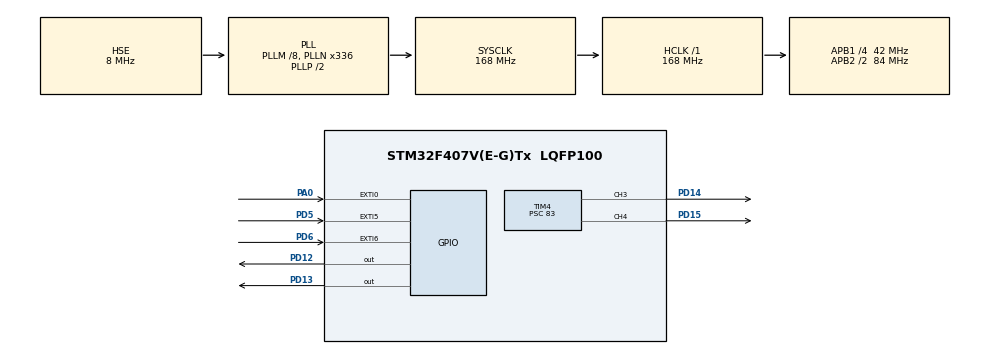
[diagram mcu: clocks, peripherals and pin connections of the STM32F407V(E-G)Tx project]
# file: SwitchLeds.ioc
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Dma.Request0=TIM4_CH3
Dma.TIM4_CH3.0.Direction=DMA_MEMORY_TO_PERIPH
Dma.TIM4_CH3.0.FIFOMode=DMA_FIFOMODE_DISABLE
Dma.TIM4_CH3.0.Instance=DMA1_Stream7
Dma.TIM4_CH3.0.MemDataAlignment=DMA_MDATAALIGN_HALFWORD
Dma.TIM4_CH3.0.MemInc=DMA_MINC_ENABLE
Dma.TIM4_CH3.0.Mode=DMA_CIRCULAR
Dma.TIM4_CH3.0.PeriphDataAlignment=DMA_PDATAALIGN_HALFWORD
Dma.TIM4_CH3.0.PeriphInc=DMA_PINC_DISABLE
Dma.TIM4_CH3.0.Priority=DMA_PRIORITY_HIGH
Mcu.Family=STM32F4
Mcu.Name=STM32F407V(E-G)Tx
Mcu.Package=LQFP100
NVIC.DMA1_Stream7_IRQn=true\:0\:0\:false\:false\:true\:false\:true\:true
NVIC.EXTI0_IRQn=true\:0\:0\:false\:false\:true\:true\:true\:true
NVIC.EXTI9_5_IRQn=true\:0\:0\:false\:false\:true\:true\:true\:true
NVIC.PriorityGroup=NVIC_PRIORITYGROUP_0
NVIC.TIM6_DAC_IRQn=true\:0\:0\:false\:false\:true\:true\:true\:true
NVIC.TIM7_IRQn=true\:0\:0\:false\:false\:true\:true\:true\:true
PA0-WKUP.GPIO_ModeDefaultEXTI=GPIO_MODE_IT_RISING_FALLING
PA0-WKUP.GPIO_PuPd=GPIO_NOPULL
PA0-WKUP.Signal=GPXTI0
PA13.Mode=Serial_Wire
PA13.Signal=SYS_JTMS-SWDIO
PA14.Mode=Serial_Wire
PA14.Signal=SYS_JTCK-SWCLK
PD12.Signal=GPIO_Output
PD13.Signal=GPIO_Output
PD14.GPIO_ModeDefaultPP=GPIO_MODE_AF_PP
PD14.GPIO_PuPd=GPIO_NOPULL
PD14.GPIO_Speed=GPIO_SPEED_FREQ_HIGH
PD14.Signal=S_TIM4_CH3
PD15.GPIO_Speed=GPIO_SPEED_FREQ_HIGH
PD15.Signal=S_TIM4_CH4
PD5.GPIO_ModeDefaultEXTI=GPIO_MODE_IT_RISING_FALLING
PD5.GPIO_PuPd=GPIO_PULLUP
PD5.Signal=GPXTI5
PD6.GPIO_ModeDefaultEXTI=GPIO_MODE_IT_RISING_FALLING
PD6.GPIO_PuPd=GPIO_PULLDOWN
PD6.Signal=GPXTI6
PH0-OSC_IN.Mode=HSE-External-Oscillator
PH0-OSC_IN.Signal=RCC_OSC_IN
PH1-OSC_OUT.Mode=HSE-External-Oscillator
PH1-OSC_OUT.Signal=RCC_OSC_OUT
ProjectManager.HeapSize=0x200
ProjectManager.StackSize=0x400
ProjectManager.TargetToolchain=STM32CubeIDE
RCC.48MHZClocksFreq_Value=48000000
RCC.AHBFreq_Value=168000000
RCC.APB1CLKDivider=RCC_HCLK_DIV4
RCC.APB1Freq_Value=42000000
RCC.APB1TimFreq_Value=84000000
RCC.APB2CLKDivider=RCC_HCLK_DIV2
RCC.APB2Freq_Value=84000000
RCC.APB2TimFreq_Value=168000000
RCC.CortexFreq_Value=168000000
RCC.HCLKFreq_Value=168000000
RCC.HSE_VALUE=8000000
RCC.HSI_VALUE=16000000
RCC.LSE_VALUE=32768
RCC.PLLM=8
RCC.PLLN=336
RCC.PLLQ=7
RCC.PLLSourceVirtual=RCC_PLLSOURCE_HSE
RCC.SYSCLKFreq_VALUE=168000000
RCC.SYSCLKSource=RCC_SYSCLKSOURCE_PLLCLK
RCC.VCOOutputFreq_Value=336000000
SH.S_TIM4_CH3.0=TIM4_CH3,PWM Generation3 CH3
SH.S_TIM4_CH4.0=TIM4_CH4,PWM Generation4 CH4
TIM4.Channel-PWM\ Generation3\ CH3=TIM_CHANNEL_3
TIM4.Channel-PWM\ Generation4\ CH4=TIM_CHANNEL_4
TIM4.Period=999
TIM4.Prescaler=83
TIM6.Period=6499
TIM6.Prescaler=8399
TIM7.Period=29
TIM7.Prescaler=8399
VP_TIM4_VS_ClockSourceINT.Mode=Internal
VP_TIM6_VS_ClockSourceINT.Mode=Enable_Timer
VP_TIM7_VS_ClockSourceINT.Mode=Enable_Timer
board=STM32F407G-DISC1

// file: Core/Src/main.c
/* USER CODE BEGIN Header */
/**
  ******************************************************************************
  * @file           : main.c
  * @brief          : Main program body
  ******************************************************************************
  * @attention
  *
  * Copyright (c) 2025 STMicroelectronics.
  * All rights reserved.
  *
  * This software is licensed under terms that can be found in the LICENSE file
  * in the root directory of this software component.
  * If no LICENSE file comes with this software, it is provided AS-IS.
  *
  ******************************************************************************
  */
/* USER CODE END Header */
#include "main.h"

TIM_HandleTypeDef htim4;
TIM_HandleTypeDef htim6;
TIM_HandleTypeDef htim7;
DMA_HandleTypeDef hdma_tim4_ch3;

void SystemClock_Config(void);
static void MX_GPIO_Init(void);
static void MX_DMA_Init(void);
static void MX_TIM6_Init(void);
static void MX_TIM4_Init(void);
static void MX_TIM7_Init(void);

/* USER CODE BEGIN 0 */
#define DEBOUNCE_DELAY 100
#define LONG_PRESS_TIME 1500
#define PWM_BUF_SIZE 32
#define PWM_TOP 999
#define PWM_UP_MS   5000
#define PWM_DOWN_MS 2000
#define PWM_TOTAL_MS (PWM_UP_MS + PWM_DOWN_MS)
#define PWM_STEP_UP    ((float)PWM_TOP / PWM_UP_MS)
#define PWM_STEP_DOWN  ((float)PWM_TOP / PWM_DOWN_MS)

typedef enum {
  MODE_1 = 1,
  MODE_2,
  MODE_3,
  MODE_4,
  MODE_5
} Mode_t;

Mode_t current_mode = MODE_1;
Mode_t previous_mode = MODE_1;
Mode_t mode_flag;
uint32_t button_press_time = 0;
uint32_t pwm_value = 0;
uint32_t pwm_step = 1;

uint16_t pwm_buf[PWM_BUF_SIZE];
float pwm_level = 0.0f;
int8_t direction = 1;
uint32_t elapsed_ms = 0;

void update_pwm_buffer(uint16_t* buf, int buf_size) {
  for (int i = 0; i < buf_size; i++) {
    buf[i] = (uint16_t)pwm_level;

    if (direction == 1) {
      pwm_level += PWM_STEP_UP;
      if (pwm_level >= PWM_TOP) {
        pwm_level = PWM_TOP;
      }
    } else {
      pwm_level -= PWM_STEP_DOWN;
      if (pwm_level <= 0) {
        pwm_level = 0;
      }
    }

    elapsed_ms++;

    if (elapsed_ms >= PWM_UP_MS && direction == 1) {
      direction = -1;
    } else if (elapsed_ms >= PWM_TOTAL_MS && direction == -1) {
      direction = 1;
      elapsed_ms = 0;
    }
  }
}

void HAL_GPIO_EXTI_Callback(uint16_t GPIO_Pin) {
  if (GPIO_Pin == GPIO_PIN_0) {
    uint32_t current_time = HAL_GetTick();
    if (HAL_GPIO_ReadPin(GPIOA, GPIO_PIN_0) == GPIO_PIN_SET) {
      button_press_time = current_time;
    } else {
      uint32_t press_duration = current_time - button_press_time;
      if (press_duration > DEBOUNCE_DELAY) {
        if (press_duration >= LONG_PRESS_TIME) {
          if (current_mode != MODE_5) {
            previous_mode = current_mode;
            current_mode = MODE_5;
          } else {
            current_mode = previous_mode;
          }
        } else if (current_mode != MODE_5) {
          current_mode = (current_mode == MODE_4) ? MODE_1 : (Mode_t)(current_mode + 1);
        }
      }
    }
  }

  if (current_mode == MODE_2 || current_mode == MODE_5) {
    if ((HAL_GPIO_ReadPin(GPIOD, GPIO_PIN_5) == GPIO_PIN_SET) && (HAL_GPIO_ReadPin(GPIOD, GPIO_PIN_6) == GPIO_PIN_SET)) {
      HAL_GPIO_WritePin(GPIOD, GPIO_PIN_12, GPIO_PIN_SET);
    }
  }else{
    HAL_GPIO_WritePin(GPIOD, GPIO_PIN_12, GPIO_PIN_RESET);
  }

  if (current_mode != MODE_1 && current_mode != MODE_5) {
    if (HAL_GPIO_ReadPin(GPIOD, GPIO_PIN_13) == GPIO_PIN_SET) {
      HAL_GPIO_WritePin(GPIOD, GPIO_PIN_13, GPIO_PIN_RESET);
    }
  }
}

void HAL_TIM_PWM_PulseFinishedHalfCpltCallback(TIM_HandleTypeDef *htim) {
  if (htim->Instance == TIM4) {
    update_pwm_buffer(&pwm_buf[0], PWM_BUF_SIZE / 2);
  }
}

void HAL_TIM_PWM_PulseFinishedCallback(TIM_HandleTypeDef *htim) {
  if (htim->Instance == TIM4) {
    update_pwm_buffer(&pwm_buf[PWM_BUF_SIZE / 2], PWM_BUF_SIZE / 2);
  }
}

void HAL_TIM_PeriodElapsedCallback(TIM_HandleTypeDef *htim) {
  if (htim->Instance == TIM6) {
    HAL_GPIO_TogglePin(GPIOD, GPIO_PIN_13);
  }

  if (htim->Instance == TIM7) {
    pwm_value += pwm_step;
    if (pwm_value >= PWM_TOP || pwm_value == 0) {
      pwm_step = -pwm_step;
    }
    TIM4->CCR4 = pwm_value;
  }
}

/* USER CODE END 0 */

int main(void)
{

  /* MCU Configuration--------------------------------------------------------*/

  /* Reset of all peripherals, Initializes the Flash interface and the Systick. */
  HAL_Init();

  /* Configure the system clock */
  SystemClock_Config();

  /* Initialize all configured peripherals */
  MX_GPIO_Init();
  MX_DMA_Init();
  MX_TIM6_Init();
  MX_TIM4_Init();
  MX_TIM7_Init();

  /* Infinite loop */
  /* USER CODE BEGIN WHILE */
  while (1) {
    if (mode_flag != current_mode) {
      switch (current_mode) {
        case MODE_1:
          HAL_TIM_PWM_Stop_DMA(&htim4, TIM_CHANNEL_3);
          HAL_TIM_PWM_Stop(&htim4, TIM_CHANNEL_4);
          HAL_TIM_Base_Stop(&htim7);
          HAL_TIM_Base_Start_IT(&htim6);
        break;
        case MODE_2:
          HAL_TIM_Base_Stop_IT(&htim6);
          HAL_TIM_PWM_Stop_DMA(&htim4, TIM_CHANNEL_3);
          HAL_TIM_PWM_Stop(&htim4, TIM_CHANNEL_4);
          HAL_TIM_Base_Stop(&htim7);
        break;
        case MODE_3:
          HAL_TIM_Base_Stop_IT(&htim6);
          HAL_TIM_PWM_Stop_DMA(&htim4, TIM_CHANNEL_3);
          HAL_TIM_PWM_Start(&htim4, TIM_CHANNEL_4);
          HAL_TIM_Base_Start_IT(&htim7);
        break;
        case MODE_4:
          HAL_TIM_Base_Stop_IT(&htim6);
          HAL_TIM_PWM_Stop(&htim4, TIM_CHANNEL_4);
          HAL_TIM_Base_Stop(&htim7);
          HAL_TIM_PWM_Start_DMA(&htim4, TIM_CHANNEL_3, (uint32_t*)pwm_buf, PWM_BUF_SIZE);
        break;
        case MODE_5:
          HAL_TIM_Base_Start_IT(&htim6);
          HAL_TIM_PWM_Start_DMA(&htim4, TIM_CHANNEL_3, (uint32_t*)pwm_buf, PWM_BUF_SIZE);
          HAL_TIM_PWM_Start(&htim4, TIM_CHANNEL_4);
          HAL_TIM_Base_Start_IT(&htim7);
        break;
    }
      mode_flag = current_mode;
    }
    /* USER CODE END WHILE */

  }
}

void SystemClock_Config(void)
{
  RCC_OscInitTypeDef RCC_OscInitStruct = {0};
  RCC_ClkInitTypeDef RCC_ClkInitStruct = {0};

  /** Configure the main internal regulator output voltage
  */
  __HAL_RCC_PWR_CLK_ENABLE();
  __HAL_PWR_VOLTAGESCALING_CONFIG(PWR_REGULATOR_VOLTAGE_SCALE1);

  /** Initializes the RCC Oscillators according to the specified parameters
  * in the RCC_OscInitTypeDef structure.
  */
  RCC_OscInitStruct.OscillatorType = RCC_OSCILLATORTYPE_HSE;
  RCC_OscInitStruct.HSEState = RCC_HSE_ON;
  RCC_OscInitStruct.PLL.PLLState = RCC_PLL_ON;
  RCC_OscInitStruct.PLL.PLLSource = RCC_PLLSOURCE_HSE;
  RCC_OscInitStruct.PLL.PLLM = 8;
  RCC_OscInitStruct.PLL.PLLN = 336;
  RCC_OscInitStruct.PLL.PLLP = RCC_PLLP_DIV2;
  RCC_OscInitStruct.PLL.PLLQ = 7;
  if (HAL_RCC_OscConfig(&RCC_OscInitStruct) != HAL_OK)
  {
    Error_Handler();
  }

  /** Initializes the CPU, AHB and APB buses clocks
  */
  RCC_ClkInitStruct.ClockType = RCC_CLOCKTYPE_HCLK|RCC_CLOCKTYPE_SYSCLK
                              |RCC_CLOCKTYPE_PCLK1|RCC_CLOCKTYPE_PCLK2;
  RCC_ClkInitStruct.SYSCLKSource = RCC_SYSCLKSOURCE_PLLCLK;
  RCC_ClkInitStruct.AHBCLKDivider = RCC_SYSCLK_DIV1;
  RCC_ClkInitStruct.APB1CLKDivider = RCC_HCLK_DIV4;
  RCC_ClkInitStruct.APB2CLKDivider = RCC_HCLK_DIV2;

  if (HAL_RCC_ClockConfig(&RCC_ClkInitStruct, FLASH_LATENCY_5) != HAL_OK)
  {
    Error_Handler();
  }
}

static void MX_TIM4_Init(void)
{

  TIM_ClockConfigTypeDef sClockSourceConfig = {0};
  TIM_MasterConfigTypeDef sMasterConfig = {0};
  TIM_OC_InitTypeDef sConfigOC = {0};

  htim4.Instance = TIM4;
  htim4.Init.Prescaler = 83;
  htim4.Init.CounterMode = TIM_COUNTERMODE_UP;
  htim4.Init.Period = 999;
  htim4.Init.ClockDivision = TIM_CLOCKDIVISION_DIV1;
  htim4.Init.AutoReloadPreload = TIM_AUTORELOAD_PRELOAD_DISABLE;
  if (HAL_TIM_Base_Init(&htim4) != HAL_OK)
  {
    Error_Handler();
  }
  sClockSourceConfig.ClockSource = TIM_CLOCKSOURCE_INTERNAL;
  if (HAL_TIM_ConfigClockSource(&htim4, &sClockSourceConfig) != HAL_OK)
  {
    Error_Handler();
  }
  if (HAL_TIM_PWM_Init(&htim4) != HAL_OK)
  {
    Error_Handler();
  }
  sMasterConfig.MasterOutputTrigger = TIM_TRGO_RESET;
  sMasterConfig.MasterSlaveMode = TIM_MASTERSLAVEMODE_DISABLE;
  if (HAL_TIMEx_MasterConfigSynchronization(&htim4, &sMasterConfig) != HAL_OK)
  {
    Error_Handler();
  }
  sConfigOC.OCMode = TIM_OCMODE_PWM1;
  sConfigOC.Pulse = 0;
  sConfigOC.OCPolarity = TIM_OCPOLARITY_HIGH;
  sConfigOC.OCFastMode = TIM_OCFAST_DISABLE;
  if (HAL_TIM_PWM_ConfigChannel(&htim4, &sConfigOC, TIM_CHANNEL_3) != HAL_OK)
  {
    Error_Handler();
  }
  if (HAL_TIM_PWM_ConfigChannel(&htim4, &sConfigOC, TIM_CHANNEL_4) != HAL_OK)
  {
    Error_Handler();
  }
  HAL_TIM_MspPostInit(&htim4);

}

static void MX_TIM6_Init(void)
{

  TIM_MasterConfigTypeDef sMasterConfig = {0};

  htim6.Instance = TIM6;
  htim6.Init.Prescaler = 8399;
  htim6.Init.CounterMode = TIM_COUNTERMODE_UP;
  htim6.Init.Period = 6499;
  htim6.Init.AutoReloadPreload = TIM_AUTORELOAD_PRELOAD_DISABLE;
  if (HAL_TIM_Base_Init(&htim6) != HAL_OK)
  {
    Error_Handler();
  }
  sMasterConfig.MasterOutputTrigger = TIM_TRGO_RESET;
  sMasterConfig.MasterSlaveMode = TIM_MASTERSLAVEMODE_DISABLE;
  if (HAL_TIMEx_MasterConfigSynchronization(&htim6, &sMasterConfig) != HAL_OK)
  {
    Error_Handler();
  }

}

static void MX_TIM7_Init(void)
{

  TIM_MasterConfigTypeDef sMasterConfig = {0};

  htim7.Instance = TIM7;
  htim7.Init.Prescaler = 8399;
  htim7.Init.CounterMode = TIM_COUNTERMODE_UP;
  htim7.Init.Period = 29;
  htim7.Init.AutoReloadPreload = TIM_AUTORELOAD_PRELOAD_DISABLE;
  if (HAL_TIM_Base_Init(&htim7) != HAL_OK)
  {
    Error_Handler();
  }
  sMasterConfig.MasterOutputTrigger = TIM_TRGO_RESET;
  sMasterConfig.MasterSlaveMode = TIM_MASTERSLAVEMODE_DISABLE;
  if (HAL_TIMEx_MasterConfigSynchronization(&htim7, &sMasterConfig) != HAL_OK)
  {
    Error_Handler();
  }

}

static void MX_DMA_Init(void)
{

  /* DMA controller clock enable */
  __HAL_RCC_DMA1_CLK_ENABLE();

  /* DMA interrupt init */
  /* DMA1_Stream7_IRQn interrupt configuration */
  HAL_NVIC_SetPriority(DMA1_Stream7_IRQn, 0, 0);
  HAL_NVIC_EnableIRQ(DMA1_Stream7_IRQn);

}

static void MX_GPIO_Init(void)
{
  GPIO_InitTypeDef GPIO_InitStruct = {0};

  /* GPIO Ports Clock Enable */
  __HAL_RCC_GPIOH_CLK_ENABLE();
  __HAL_RCC_GPIOA_CLK_ENABLE();
  __HAL_RCC_GPIOD_CLK_ENABLE();

  /*Configure GPIO pin Output Level */
  HAL_GPIO_WritePin(GPIOD, GPIO_PIN_12|GPIO_PIN_13, GPIO_PIN_RESET);

  /*Configure GPIO pin : PA0 */
  GPIO_InitStruct.Pin = GPIO_PIN_0;
  GPIO_InitStruct.Mode = GPIO_MODE_IT_RISING_FALLING;
  GPIO_InitStruct.Pull = GPIO_NOPULL;
  HAL_GPIO_Init(GPIOA, &GPIO_InitStruct);

  /*Configure GPIO pins : PD12 PD13 */
  GPIO_InitStruct.Pin = GPIO_PIN_12|GPIO_PIN_13;
  GPIO_InitStruct.Mode = GPIO_MODE_OUTPUT_PP;
  GPIO_InitStruct.Pull = GPIO_NOPULL;
  GPIO_InitStruct.Speed = GPIO_SPEED_FREQ_LOW;
  HAL_GPIO_Init(GPIOD, &GPIO_InitStruct);

  /*Configure GPIO pin : PD5 */
  GPIO_InitStruct.Pin = GPIO_PIN_5;
  GPIO_InitStruct.Mode = GPIO_MODE_IT_RISING_FALLING;
  GPIO_InitStruct.Pull = GPIO_PULLUP;
  HAL_GPIO_Init(GPIOD, &GPIO_InitStruct);

  /*Configure GPIO pin : PD6 */
  GPIO_InitStruct.Pin = GPIO_PIN_6;
  GPIO_InitStruct.Mode = GPIO_MODE_IT_RISING_FALLING;
  GPIO_InitStruct.Pull = GPIO_PULLDOWN;
  HAL_GPIO_Init(GPIOD, &GPIO_InitStruct);

  /* EXTI interrupt init*/
  HAL_NVIC_SetPriority(EXTI0_IRQn, 0, 0);
  HAL_NVIC_EnableIRQ(EXTI0_IRQn);

  HAL_NVIC_SetPriority(EXTI9_5_IRQn, 0, 0);
  HAL_NVIC_EnableIRQ(EXTI9_5_IRQn);

}

void Error_Handler(void)
{
  __disable_irq();
  while (1)
  {
  }
}
